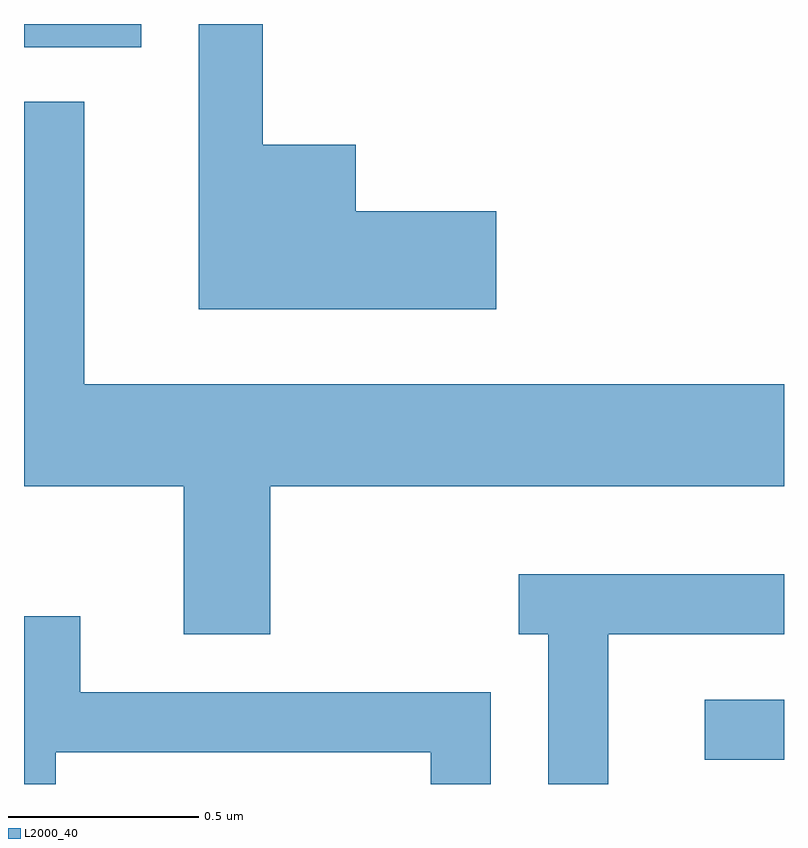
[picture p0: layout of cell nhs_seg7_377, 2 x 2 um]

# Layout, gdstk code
import gdstk
lib = gdstk.Library(unit=1e-6, precision=1e-09)
def R(c, l, rs):  # rectangles x0, y0, x1, y1
    for r in rs: c.add(gdstk.rectangle(r[:2], r[2:], *l))
def P(c, l, *ps):  # polygons
    for p in ps: c.add(gdstk.Polygon(p, *l))
L2000_40 = (2000, 40)

nhs_seg7_377 = lib.new_cell('nhs_seg7_377')
R(nhs_seg7_377, L2000_40, [(189.403,1771.316,189.611,1771.474), (187.611,1773.191,187.919,1773.252)])
P(nhs_seg7_377, L2000_40, [(188.854,1772.759),(188.484,1772.759),(188.484,1772.934),(188.239,1772.934),(188.239,1773.252),(188.071,1773.252),(188.071,1772.501),(188.854,1772.501)],
  [(188.259,1772.036),(189.611,1772.036),(189.611,1772.304),(187.769,1772.304),(187.769,1773.048),(187.611,1773.048),(187.611,1772.036),(188.031,1772.036),(188.031,1771.646),(188.259,1771.646)],
  [(189.149,1771.646),(189.611,1771.646),(189.611,1771.804),(188.913,1771.804),(188.913,1771.646),(188.991,1771.646),(188.991,1771.252),(189.149,1771.252)],
  [(187.694,1771.336),(188.681,1771.336),(188.681,1771.252),(188.839,1771.252),(188.839,1771.494),(187.759,1771.494),(187.759,1771.694),(187.611,1771.694),(187.611,1771.252),(187.694,1771.252)])

lib.write_gds('nhs_seg7_377.gds')
